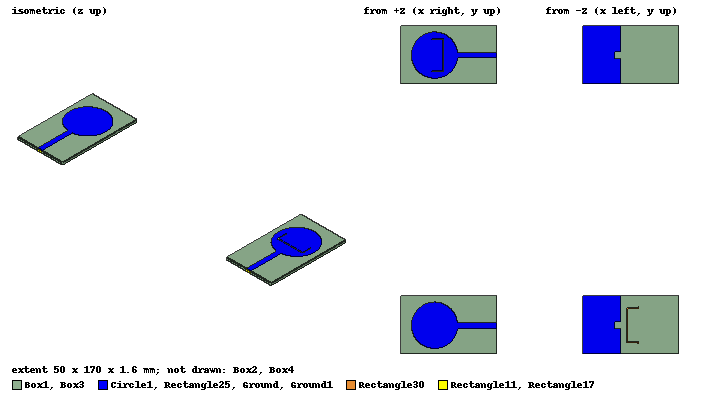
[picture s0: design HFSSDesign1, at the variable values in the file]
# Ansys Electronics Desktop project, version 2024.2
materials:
  vacuum: permittivity=1
  FR4_epoxy: permittivity=4.4 dielectric_loss_tangent=0.02
  copper: permeability=0.999991 conductivity=58000000

design HFSSDesign1 (HFSS, HFSS Modal Network, model units mm)
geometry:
  Box1 [FR4_epoxy] = box(corner=(-1.2mm, 0.8mm, 0mm), size=(50mm, 30mm, 1.6mm))
  Rectangle11 = rectangle(corner=(48.8mm, 17mm, 1.6mm), y_size=-3mm, z_size=-1.6mm)
  Box2 [vacuum] = box(corner=(-17mm, -24mm, -20mm), size=(80mm, 80mm, 40mm))
  Ground = rectangle(corner=(48.8mm, 0.8mm, 0mm), x_size=-20mm, y_size=30mm)
  Rectangle12 = rectangle(corner=(48.8mm, 17mm, 1.6mm), x_size=-20.47mm, y_size=-3mm)
  Circle1 = circle(normal=Z, centre=(16.5mm, 15.5mm, 1.6mm), radius=12mm)
  Circle1.unite(Rectangle12)
  Rectangle13 = rectangle(corner=(21mm, 23.5mm, 1.6mm), x_size=-0.5mm, y_size=-16mm)
  Rectangle14 = rectangle(corner=(21mm, 23.5mm, 1.6mm), x_size=-6mm, y_size=0.5mm)
  Rectangle15 = rectangle(corner=(21mm, 7.5mm, 1.6mm), x_size=-6mm, y_size=-0.5mm)
  Rectangle13.unite(Rectangle14, Rectangle15)
  Circle1.subtract(Rectangle13)
  Rectangle16 = rectangle(corner=(28.8mm, 13.75mm, 0mm), x_size=3.5mm, y_size=3.5mm)
  Ground.subtract(Rectangle16)
  [Box1, Rectangle11, Box2, Ground, Circle1].move(0mm, 140mm, 0mm)
  Box3 [FR4_epoxy] = box(corner=(-1.2mm, 0.8mm, 0mm), size=(50mm, 30mm, 1.6mm))
  Rectangle17 = rectangle(corner=(48.8mm, 17mm, 1.6mm), y_size=-3mm, z_size=-1.6mm)
  Box4 [vacuum] = box(corner=(-17mm, -24mm, -20mm), size=(80mm, 80mm, 40mm))
  Ground1 = rectangle(corner=(48.8mm, 0.8mm, 0mm), x_size=-20mm, y_size=30mm)
  Rectangle22 = rectangle(corner=(28.8mm, 13.75mm, 0mm), x_size=3.5mm, y_size=3.5mm)
  Ground1.subtract(Rectangle22)
  Circle2 = circle(normal=Z, centre=(16.5mm, 15.5mm, 1.6mm), radius=12mm)
  Rectangle18 = rectangle(corner=(48.8mm, 17mm, 1.6mm), x_size=-20.47mm, y_size=-3mm)
  Circle2.unite(Rectangle18)
  Rectangle19 = rectangle(corner=(21mm, 23.5mm, 1.6mm), x_size=-0.5mm, y_size=-16mm)
  Rectangle20 = rectangle(corner=(21mm, 23.5mm, 1.6mm), x_size=-6mm, y_size=0.5mm)
  Rectangle21 = rectangle(corner=(21mm, 7.5mm, 1.6mm), x_size=-6mm, y_size=-0.5mm)
  Rectangle19.unite(Rectangle20, Rectangle21)
  Circle2.subtract(Rectangle19)
  Rectangle23 = rectangle(corner=(20.5mm, 23.5mm, 1.6mm), x_size=0.5mm, y_size=-16.5mm)
  Rectangle24 = rectangle(corner=(15mm, 7.5mm, 1.6mm), x_size=5.5mm, y_size=-0.5mm)
  Rectangle25 = rectangle(corner=(15mm, 24mm, 1.6mm), x_size=6mm, y_size=-0.5mm)
  Rectangle25.unite(Rectangle24, Rectangle23, Circle2)
  Rectangle26 = rectangle(corner=(26mm, 7mm, 0mm), x_size=-0.5mm, y_size=17mm)
  Rectangle27 = rectangle(corner=(26mm, 7mm, 0mm), x_size=-6mm, y_size=-0.5mm)
  Rectangle28 = rectangle(corner=(26mm, 24mm, 0mm), x_size=-6mm, y_size=0.5mm)
  Rectangle26.unite(Rectangle27, Rectangle28)
  Rectangle29 = rectangle(corner=(20mm, 7mm, 0mm), x_size=-0.5mm, y_size=-1.2mm)
  Rectangle30 = rectangle(corner=(20mm, 24mm, 0mm), x_size=-0.5mm, y_size=1.2mm)
  Rectangle30.unite(Rectangle29, Rectangle26)
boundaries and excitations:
  Rad1: Radiation Objects=Box2
  PerfE1: Perfect E Objects=Circle1
  PerfE2: Perfect E Objects=Ground
  Rad2: Radiation Objects=Box4
  PerfE4: Perfect E Objects=Ground1
  PerfE3: Perfect E Objects=Rectangle25
  PerfE5: Perfect E Objects=Rectangle30
  1: Lumped Port Objects=Rectangle11 LumpedPortType=Modal Modes{Mode1{IntLine{(48.8, 155.5, 0) -> (48.8, 155.5, 1.6)} CharImp=Zpi RenormImp=50ohm}} Impedance=50ohm
  2: Lumped Port Objects=Rectangle17 LumpedPortType=Modal Modes{Mode1{IntLine{(48.8, 15.5, 0) -> (48.8, 15.5, 1.6)} CharImp=Zpi RenormImp=50ohm}} Impedance=50ohm
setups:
  Setup1: HfssDriven Frequency=2.27GHz MaxDeltaS=0.02 MaximumPasses=10 MinimumPasses=1 MinimumConvergedPasses=1 PercentRefinement=30 BasisOrder=1 PortAccuracy=2 DrivenSolverType="Direct Solver"
    sweep Sweep: 2GHz to 15GHz step 0.06GHz; Type=Discrete SaveFields
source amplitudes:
  1:1, 2:1: 1W 0deg
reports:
  S Parameter Plot 1: dB(S(1,1)) vs Freq on Setup1 : Sweep
  VSWR Plot 1: VSWR(1) vs Freq on Setup1 : Sweep
  VSWR Plot 2: VSWR(2) vs Freq on Setup1 : Sweep
  VSWR Plot 3: VSWR(1), VSWR(2) vs Freq on Setup1 : Sweep
  S Parameter Plot 2: dB(S(2,2)) vs Freq on Setup1 : Sweep
